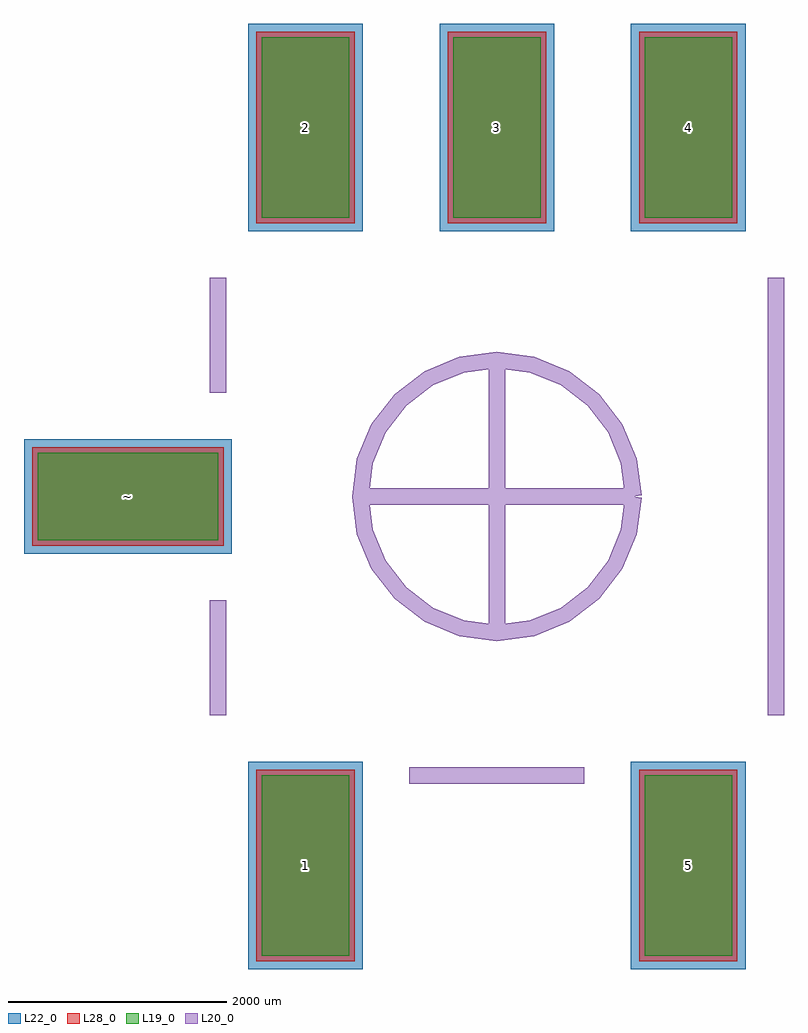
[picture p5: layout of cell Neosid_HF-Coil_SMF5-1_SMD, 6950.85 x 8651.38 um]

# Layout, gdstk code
import gdstk
lib = gdstk.Library(unit=1e-6, precision=1e-09)
def R(c, l, rs):  # rectangles x0, y0, x1, y1
    for r in rs: c.add(gdstk.rectangle(r[:2], r[2:], *l))
def A(c, l, x, y, w, h, nx, ny, dx, dy):  # array of equal rectangles
    R(c, l, [(x+i*dx, y+j*dy, x+i*dx+w, y+j*dy+h) for i in range(nx) for j in range(ny)])
L19_0 = (19, 0)
L20_0 = (20, 0)
L22_0 = (22, 0)
L28_0 = (28, 0)

neosid_hf_coil_smf5_1_sm = lib.new_cell('Neosid_HF-Coil_SMF5-1_SMD')
A(neosid_hf_coil_smf5_1_sm, L19_0, -2149.64, 2550.63, 799.16, 1650.06, 3, 1, 1750.06, 0)
R(neosid_hf_coil_smf5_1_sm, L19_0, [(-2149.64,-4200.69,-1350.48,-2550.63), (1350.48,-4200.69,2149.64,-2550.63), (-4200.69,-399.58,-2550.63,399.58)])
A(neosid_hf_coil_smf5_1_sm, L22_0, -2274.64, 2425.63, 1049.16, 1900.06, 3, 1, 1750.06, 0)
R(neosid_hf_coil_smf5_1_sm, L22_0, [(-2274.64,-4325.69,-1225.48,-2425.63), (1225.48,-4325.69,2274.64,-2425.63), (-4325.69,-524.58,-2425.63,524.58)])
A(neosid_hf_coil_smf5_1_sm, L28_0, -2199.64, 2500.63, 899.16, 1750.06, 3, 1, 1750.06, 0)
R(neosid_hf_coil_smf5_1_sm, L28_0, [(-2199.64,-4250.69,-1300.48,-2500.63), (1300.48,-4250.69,2199.64,-2500.63), (-4250.69,-449.58,-2500.63,449.58)])
neosid_hf_coil_smf5_1_sm.add(gdstk.FlexPath([(1249.68,0),(1207.098,323.441),(1082.255,624.84),(883.657,883.657),(624.84,1082.255),(323.441,1207.098),(0,1249.68),(-323.441,1207.098),(-624.84,1082.255),(-883.657,883.657),(-1082.255,624.84),(-1207.098,323.441),(-1249.68,0),(-1207.098,-323.441),(-1082.255,-624.84),(-883.657,-883.657),(-624.84,-1082.255),(-323.441,-1207.098),(0,-1249.68),(323.441,-1207.098),(624.84,-1082.255),(883.657,-883.657),(1082.255,-624.84),(1207.098,-323.441),(1249.68,0)], 149.998, ends="flush", simple_path=True, layer=20, datatype=0))  # L20_0
neosid_hf_coil_smf5_1_sm.add(gdstk.FlexPath([(2550.16,1998.98),(2550.16,-1998.98)], 149.998, ends="flush", simple_path=True, layer=20, datatype=0))  # L20_0
neosid_hf_coil_smf5_1_sm.add(gdstk.FlexPath([(-2550.16,1998.98),(-2550.16,949.96)], 149.998, ends="flush", simple_path=True, layer=20, datatype=0))  # L20_0
neosid_hf_coil_smf5_1_sm.add(gdstk.FlexPath([(-2550.16,-949.96),(-2550.16,-1998.98)], 149.998, ends="flush", simple_path=True, layer=20, datatype=0))  # L20_0
neosid_hf_coil_smf5_1_sm.add(gdstk.FlexPath([(-800.1,-2550.16),(800.1,-2550.16)], 149.998, ends="flush", simple_path=True, layer=20, datatype=0))  # L20_0
neosid_hf_coil_smf5_1_sm.add(gdstk.FlexPath([(1249.68,0),(-1249.68,0)], 149.998, ends="flush", simple_path=True, layer=20, datatype=0))  # L20_0
neosid_hf_coil_smf5_1_sm.add(gdstk.FlexPath([(0,1249.68),(0,-1249.68)], 149.998, ends="flush", simple_path=True, layer=20, datatype=0))  # L20_0
neosid_hf_coil_smf5_1_sm.add(gdstk.Label('5', (1750.06,-3375.66), layer=28, texttype=0))
neosid_hf_coil_smf5_1_sm.add(gdstk.Label('1', (-1750.06,-3375.66), layer=28, texttype=0))
neosid_hf_coil_smf5_1_sm.add(gdstk.Label('4', (1750.06,3375.66), layer=28, texttype=0))
neosid_hf_coil_smf5_1_sm.add(gdstk.Label('2', (-1750.06,3375.66), layer=28, texttype=0))
neosid_hf_coil_smf5_1_sm.add(gdstk.Label('3', (0,3375.66), layer=28, texttype=0))
neosid_hf_coil_smf5_1_sm.add(gdstk.Label('~', (-3375.66,0), layer=28, texttype=0))
neosid_hf_coil_smf5_1_sm.add(gdstk.Label('type', (-50.8,-6250.94), layer=9, texttype=0))
neosid_hf_coil_smf5_1_sm.add(gdstk.Label('devicename', (50.8,5849.62), layer=9, texttype=0))

lib.write_gds('Neosid_HF-Coil_SMF5-1_SMD.gds')
